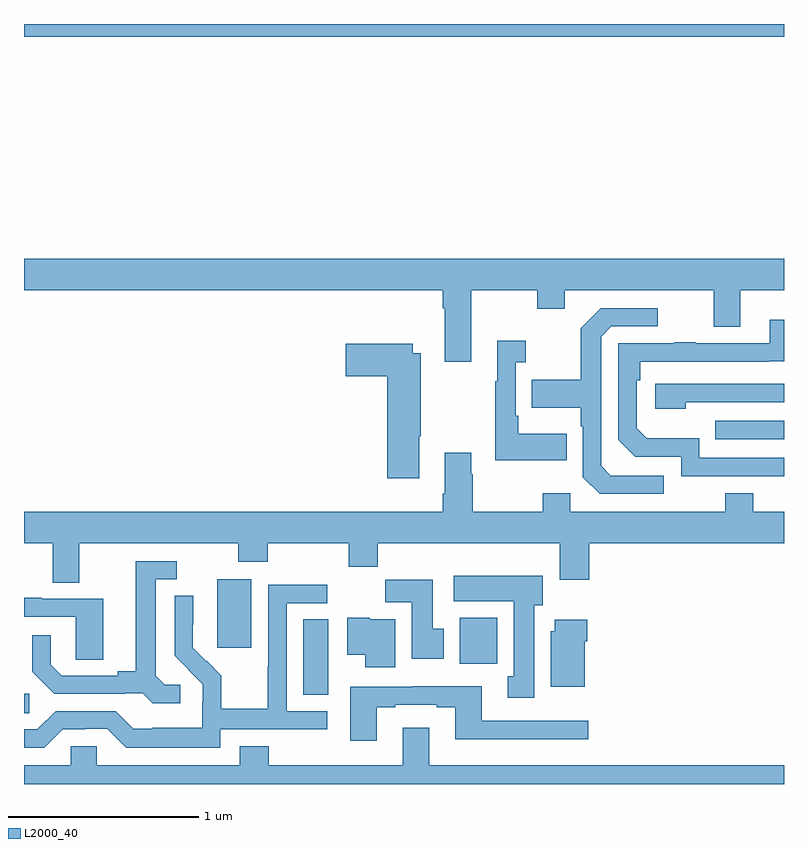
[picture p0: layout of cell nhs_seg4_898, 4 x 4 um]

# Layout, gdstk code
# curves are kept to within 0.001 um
import gdstk
lib = gdstk.Library(unit=1e-6, precision=1e-09)
def R(c, l, rs):  # rectangles x0, y0, x1, y1
    for r in rs: c.add(gdstk.rectangle(r[:2], r[2:], *l))
def P(c, l, *ps):  # polygons
    for p in ps: c.add(gdstk.Polygon(p, *l))
L2000_40 = (2000, 40)

nhs_seg4_898 = lib.new_cell('nhs_seg4_898')
R(nhs_seg4_898, L2000_40, [(157,781.273,157.027,781.374), (158.471,781.369,158.602,781.766), (159.293,781.532,159.49,781.774), (158.018,781.617,158.197,781.978), (160.639,782.715,161,782.811), (157,784.832,161,784.9)])
P(nhs_seg4_898, L2000_40, [(159.355,783.5),(159.7,783.5),(159.7,783.401),(159.847,783.401),(159.847,783.5),(160.631,783.5),(160.631,783.306),(160.771,783.306),(160.771,783.5),(161,783.5),(161,783.664),(157,783.664),(157,783.5),(159.203,783.5),(159.203,783.404),(159.215,783.404),(159.215,783.123),(159.355,783.123)],
  [(160.366,782.523),(160.089,782.523),(160.038,782.574),(160.038,783.255),(160.092,783.309),(160.336,783.309),(160.336,783.405),(160.035,783.405),(159.93,783.299),(159.93,783.027),(159.673,783.027),(159.673,782.879),(159.93,782.879),(159.93,782.783),(159.942,782.783),(159.942,782.514),(160.029,782.427),(160.366,782.427)],
  [(161,782.616),(160.554,782.616),(160.554,782.719),(160.277,782.719),(160.224,782.772),(160.224,783.026),(160.244,783.026),(160.244,783.123),(161,783.124),(161,783.343),(160.925,783.343),(160.925,783.219),(160.535,783.219),(160.535,783.224),(160.423,783.224),(160.423,783.219),(160.128,783.219),(160.128,782.712),(160.218,782.622),(160.458,782.622),(160.458,782.52),(161,782.52)],
  [(159.857,782.743),(159.601,782.743),(159.601,782.839),(159.588,782.839),(159.588,783.119),(159.64,783.119),(159.64,783.232),(159.491,783.232),(159.491,783.019),(159.48,783.019),(159.48,782.603),(159.857,782.603)],
  [(159.079,782.731),(159.087,782.731),(159.087,783.166),(159.046,783.166),(159.046,783.217),(158.694,783.217),(158.694,783.047),(158.912,783.047),(158.912,782.508),(159.079,782.508)],
  [(160.484,782.91),(161,782.91),(161,783.006),(160.323,783.006),(160.323,782.876),(160.484,782.876)],
  [(157.291,782.168),(158.128,782.168),(158.128,782.069),(158.283,782.069),(158.283,782.168),(158.71,782.168),(158.71,782.044),(158.861,782.044),(158.861,782.168),(159.821,782.168),(159.821,781.974),(159.974,781.974),(159.974,782.168),(161,782.168),(161,782.332),(160.837,782.332),(160.837,782.431),(160.69,782.431),(160.69,782.332),(159.876,782.332),(159.876,782.431),(159.73,782.431),(159.73,782.332),(159.363,782.332),(159.363,782.531),(159.355,782.531),(159.355,782.644),(159.215,782.644),(159.215,782.428),(159.203,782.428),(159.203,782.332),(157,782.332),(157,782.168),(157.151,782.168),(157.151,781.96),(157.291,781.96)],
  [(157.822,781.422),(157.74,781.422),(157.693,781.469),(157.693,781.977),(157.804,781.977),(157.804,782.073),(157.589,782.073),(157.589,781.493),(157.493,781.493),(157.493,781.47),(157.198,781.47),(157.141,781.527),(157.141,781.684),(157.044,781.684),(157.044,781.49),(157.16,781.374),(157.532,781.374),(157.532,781.377),(157.626,781.377),(157.678,781.325),(157.822,781.325)],
  [(159.685,781.842),(159.73,781.842),(159.73,781.996),(159.261,781.996),(159.261,781.862),(159.578,781.862),(159.578,781.466),(159.545,781.466),(159.545,781.353),(159.685,781.353)],
  [(159.208,781.716),(159.151,781.716),(159.151,781.975),(158.902,781.975),(158.902,781.856),(159.041,781.856),(159.041,781.56),(159.208,781.56)],
  [(158.034,781.188),(158.596,781.188),(158.596,781.284),(158.382,781.284),(158.382,781.851),(158.596,781.851),(158.596,781.95),(158.286,781.95),(158.286,781.52),(158.284,781.52),(158.284,781.297),(158.039,781.297),(158.039,781.471),(157.962,781.548),(157.959,781.545),(157.889,781.616),(157.89,781.892),(157.794,781.892),(157.794,781.574),(157.94,781.426),(157.94,781.329),(157.938,781.329),(157.938,781.195),(157.675,781.195),(157.675,781.191),(157.575,781.191),(157.482,781.284),(157.167,781.284),(157.071,781.188),(157,781.188),(157,781.092),(157.107,781.092),(157.203,781.188),(157.322,781.188),(157.322,781.191),(157.437,781.191),(157.537,781.091),(158.034,781.091)],
  [(157.417,781.875),(157.093,781.875),(157.093,781.879),(157,781.879),(157,781.779),(157.272,781.779),(157.272,781.555),(157.417,781.555)],
  [(158.953,781.768),(158.82,781.768),(158.82,781.774),(158.702,781.774),(158.702,781.58),(158.795,781.58),(158.795,781.515),(158.953,781.515)],
  [(159.952,781.652),(159.965,781.652),(159.965,781.765),(159.794,781.765),(159.794,781.704),(159.773,781.704),(159.773,781.412),(159.952,781.412)],
  [(158.857,781.305),(158.953,781.305),(158.953,781.317),(159.173,781.317),(159.173,781.305),(159.269,781.305),(159.269,781.136),(159.97,781.136),(159.97,781.233),(159.409,781.233),(159.409,781.414),(159.049,781.414),(159.049,781.413),(158.717,781.413),(158.717,781.128),(158.857,781.128)],
  [(161,781),(159.133,781),(159.133,781.195),(158.993,781.195),(158.993,781),(158.288,781),(158.288,781.099),(158.135,781.099),(158.135,781),(157.383,781),(157.383,781.098),(157.245,781.098),(157.245,781),(157,781),(157,780.9),(161,780.9)])

lib.write_gds('nhs_seg4_898.gds')
